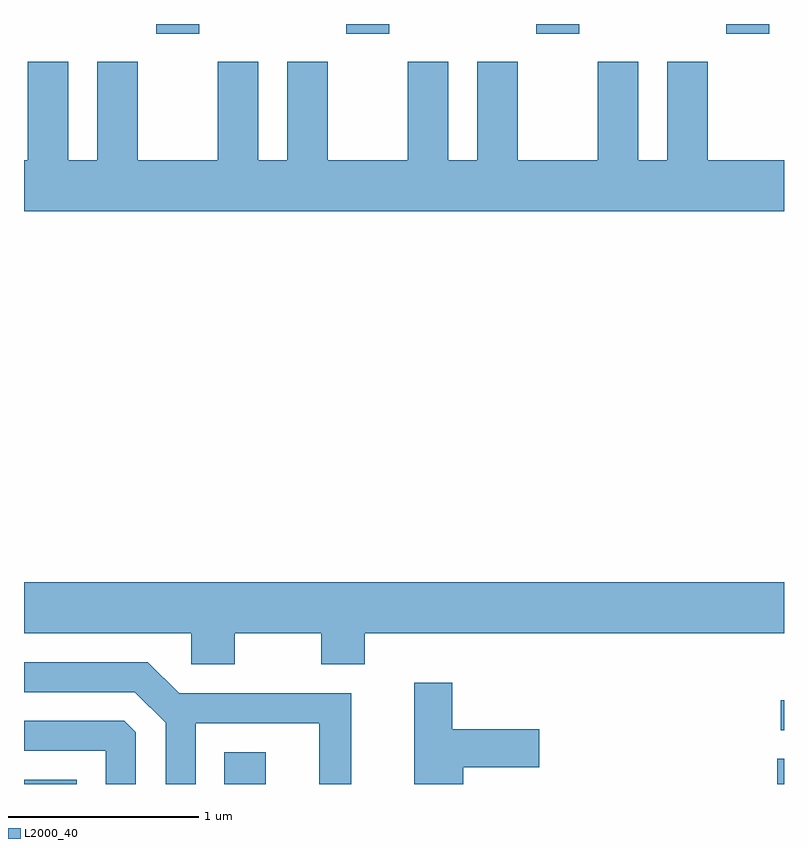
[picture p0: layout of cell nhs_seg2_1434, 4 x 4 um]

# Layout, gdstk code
import gdstk
lib = gdstk.Library(unit=1e-6, precision=1e-09)
def R(c, l, rs):  # rectangles x0, y0, x1, y1
    for r in rs: c.add(gdstk.rectangle(r[:2], r[2:], *l))
def A(c, l, x, y, w, h, nx, ny, dx, dy):  # array of equal rectangles
    R(c, l, [(x+i*dx, y+j*dy, x+i*dx+w, y+j*dy+h) for i in range(nx) for j in range(ny)])
def P(c, l, *ps):  # polygons
    for p in ps: c.add(gdstk.Polygon(p, *l))
L2000_40 = (2000, 40)

nhs_seg2_1434 = lib.new_cell('nhs_seg2_1434')
A(nhs_seg2_1434, L2000_40, 228.306, 993.751, 0.228, 0.051, 4, 1, 1, 0)
R(nhs_seg2_1434, L2000_40, [(227.611,989.802,227.889,989.824), (228.666,989.802,228.884,989.969), (231.576,989.802,231.611,989.934), (231.593,990.086,231.611,990.244)])
P(nhs_seg2_1434, L2000_40, [(229.631,993.604),(229.631,993.084),(229.209,993.084),(229.209,993.604),(228.996,993.604),(228.996,993.084),(228.844,993.084),(228.844,993.604),(228.631,993.604),(228.631,993.084),(228.209,993.084),(228.209,993.604),(227.996,993.604),(227.996,993.084),(227.844,993.084),(227.844,993.604),(227.631,993.604),(227.631,993.084),(227.611,993.084),(227.611,992.816),(231.611,992.816),(231.611,993.084),(231.209,993.084),(231.209,993.604),(230.996,993.604),(230.996,993.084),(230.844,993.084),(230.844,993.604),(230.631,993.604),(230.631,993.084),(230.209,993.084),(230.209,993.604),(229.996,993.604),(229.996,993.084),(229.844,993.084),(229.844,993.604)],
  [(228.719,990.596),(229.176,990.596),(229.176,990.431),(229.404,990.431),(229.404,990.596),(231.611,990.596),(231.611,990.864),(227.611,990.864),(227.611,990.596),(228.491,990.596),(228.491,990.431),(228.719,990.431)],
  [(228.514,990.121),(229.166,990.121),(229.166,989.802),(229.334,989.802),(229.334,990.279),(228.427,990.279),(228.262,990.444),(227.611,990.444),(227.611,990.286),(228.194,990.286),(228.356,990.124),(228.356,989.802),(228.514,989.802)],
  [(229.924,989.891),(230.324,989.891),(230.324,990.089),(229.864,990.089),(229.864,990.334),(229.666,990.334),(229.666,989.802),(229.924,989.802)],
  [(228.199,990.074),(228.139,990.134),(227.611,990.134),(227.611,989.976),(228.041,989.976),(228.041,989.802),(228.199,989.802)])

lib.write_gds('nhs_seg2_1434.gds')
